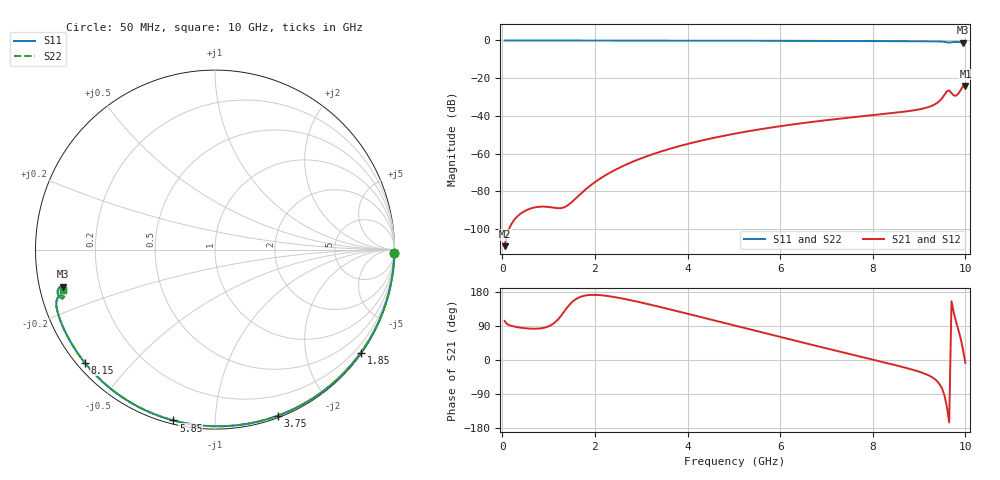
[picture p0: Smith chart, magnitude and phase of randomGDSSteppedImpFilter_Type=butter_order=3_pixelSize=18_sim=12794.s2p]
! freq	dB(S11)	phase(S11)	dB(S12)	phase(S12)
!  dB(S21)	phase(S21)	dB(S22)	phase(S22)
!S-par simulation data
#  GHz  S  DB  R 50
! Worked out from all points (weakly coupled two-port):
!   200 points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, 50 MHz to 10 GHz, reference 50 ohm
!   highest |S21| = -24.07 dB at 10 GHz (marker M1); lowest = -109.0 dB at 50 MHz (marker M2)
!   lowest |S11| = -1.2 dB at 9.95 GHz (marker M3), VSWR 14.43, Z = 3.51 - j5.98 ohm
!   |S11| at or under -10 dB: nowhere
!   |S22| runs from -1.2 to 0.0 dB; largest |S21 - S12| = 0
!   S11 on the Smith chart (normalised r, x): 50 MHz: open; 1.85 GHz: 0.03, -3.15; 3.75 GHz: 0.02, -1.45; 5.85 GHz: 0.02, -0.79; 8.15 GHz: 0.02, -0.37; 10 GHz: 0.07, -0.13
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0.05  -0.01 -0.9  -109.03 103.0  -109.03 103.0  -0.00 -1.0
0.85  -0.02 -16.4  -88.08 83.9  -88.08 83.9  -0.02 -16.4
1.75  -0.04 -33.3  -79.98 169.0  -79.98 169.0  -0.04 -33.3
1.85  -0.05 -35.2  -77.90 171.1  -77.90 171.1  -0.05 -35.2
2.15  -0.05 -40.7  -72.62 170.7  -72.62 170.7  -0.05 -40.7
2.5  -0.06 -47.1  -67.81 164.4  -67.81 164.4  -0.06 -47.1
3.4  -0.08 -63.1  -59.06 140.1  -59.06 140.1  -0.08 -63.1
3.75  -0.09 -69.2  -56.50 129.7  -56.50 129.7  -0.09 -69.2
5.05  -0.14 -90.9  -49.27 89.9  -49.27 89.9  -0.14 -90.9
5.85  -0.18 -103.7  -45.99 65.4  -45.99 65.4  -0.18 -103.7
6.7  -0.23 -116.9  -43.14 39.6  -43.14 39.6  -0.23 -116.9
8.15  -0.34 -139.1  -39.21 -3.5  -39.21 -3.5  -0.34 -139.1
8.35  -0.36 -142.1  -38.69 -9.4  -38.69 -9.4  -0.36 -142.2
8.95  -0.43 -151.6  -36.76 -28.9  -36.76 -28.9  -0.43 -151.6
9.25  -0.48 -156.6  -34.89 -43.3  -34.89 -43.3  -0.48 -156.7
9.45  -0.56 -160.6  -31.88 -65.1  -31.88 -65.1  -0.56 -160.6
9.6  -0.96 -163.5  -26.95 -123.2  -26.95 -123.2  -0.97 -163.6
9.65  -1.10 -162.7  -26.48 -164.8  -26.48 -164.8  -1.12 -162.7
9.75  -0.85 -163.0  -29.19 124.2  -29.19 124.2  -0.86 -162.9
9.8  -0.82 -164.2  -29.28 100.0  -29.28 100.0  -0.82 -164.1
9.95  -1.21 -166.3  -24.19 26.1  -24.19 26.1  -1.19 -166.2
10  -1.17 -165.0  -24.07 -7.5  -24.07 -7.5  -1.15 -165.0
